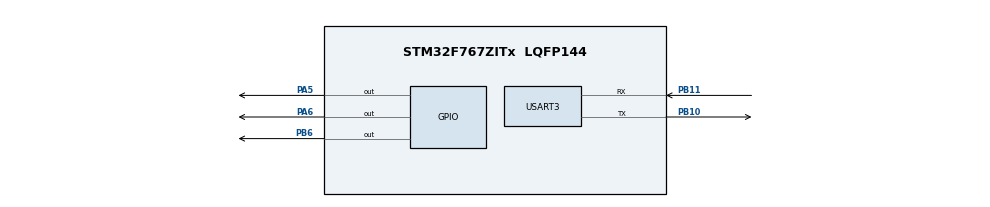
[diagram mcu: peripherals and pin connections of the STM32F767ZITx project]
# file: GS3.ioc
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CORTEX_M7.default_mode_Activation=1
Mcu.Family=STM32F7
Mcu.Name=STM32F767ZITx
Mcu.Package=LQFP144
NVIC.PriorityGroup=NVIC_PRIORITYGROUP_4
PA5.Signal=GPIO_Output
PA6.Signal=GPIO_Output
PB10.Mode=Asynchronous
PB10.Signal=USART3_TX
PB11.Mode=Asynchronous
PB11.Signal=USART3_RX
PB6.Signal=GPIO_Output
ProjectManager.HeapSize=0x200
ProjectManager.StackSize=0x400
ProjectManager.TargetToolchain=STM32CubeIDE
RCC.HSE_VALUE=25000000
RCC.HSI_VALUE=16000000
RCC.LSE_VALUE=32768
RCC.USBFreq_Value=96000000
RCC.VCOOutputFreq_Value=192000000
USART3.VirtualMode-Asynchronous=VM_ASYNC
board=custom

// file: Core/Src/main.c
/* USER CODE BEGIN Header */
/**
  ******************************************************************************
  * @file           : main.c
  * @brief          : Main program body
  ******************************************************************************
  * @attention
  *
  * Copyright (c) 2026 STMicroelectronics.
  * All rights reserved.
  *
  * This software is licensed under terms that can be found in the LICENSE file
  * in the root directory of this software component.
  * If no LICENSE file comes with this software, it is provided AS-IS.
  *
  ******************************************************************************
  */
/* USER CODE END Header */
#include "main.h"
#include <stdio.h>

UART_HandleTypeDef huart3;

/* USER CODE BEGIN PV */

uint8_t rxData[2] = {0, 0};
uint16_t sensor_raw = 0;
uint16_t sensor_safety = 0;
float sensor_angle_deg = 0.0f;
uint8_t sensor_ok = 0;

/* USER CODE END PV */

void SystemClock_Config(void);
static void MPU_Config(void);
static void MX_GPIO_Init(void);
static void MX_USART3_UART_Init(void);
/* USER CODE BEGIN PFP */

static void TLI_Delay_us(uint32_t us);
static void TLI_DATA_Output(void);
static void TLI_DATA_Input(void);
static void TLI_SCK_High(void);
static void TLI_SCK_Low(void);
static void TLI_DATA_High(void);
static void TLI_DATA_Low(void);
static uint8_t TLI_DATA_Read(void);
static void TLI_WriteBit(uint8_t bit);
static uint8_t TLI_ReadBit(void);
static void TLI_WriteWord(uint16_t word);
static uint16_t TLI_ReadWord(void);
static HAL_StatusTypeDef TLI5012B_ReadAngle(void);

/* USER CODE END PFP */

/* USER CODE BEGIN 0 */

extern UART_HandleTypeDef huart3;

int _write(int file, char *ptr, int len)
{
    HAL_UART_Transmit(&huart3, (uint8_t *)ptr, len, HAL_MAX_DELAY);
    return len;
}

static void TLI_Delay_us(uint32_t us)
{
    volatile uint32_t count = us * 4;  /* rough tuning, adjust if timing looks off */
    while (count--) { __NOP(); }
}

static void TLI_DATA_Output(void)
{
    GPIO_InitTypeDef GPIO_InitStruct = {0};
    GPIO_InitStruct.Pin = GPIO_PIN_6;
    GPIO_InitStruct.Mode = GPIO_MODE_OUTPUT_PP;
    GPIO_InitStruct.Pull = GPIO_NOPULL;
    GPIO_InitStruct.Speed = GPIO_SPEED_FREQ_HIGH;
    HAL_GPIO_Init(GPIOA, &GPIO_InitStruct);
}

static void TLI_DATA_Input(void)
{
    GPIO_InitTypeDef GPIO_InitStruct = {0};
    GPIO_InitStruct.Pin = GPIO_PIN_6;
    GPIO_InitStruct.Mode = GPIO_MODE_INPUT;
    GPIO_InitStruct.Pull = GPIO_NOPULL;
    GPIO_InitStruct.Speed = GPIO_SPEED_FREQ_HIGH;
    HAL_GPIO_Init(GPIOA, &GPIO_InitStruct);
}

static void TLI_SCK_High(void) { HAL_GPIO_WritePin(GPIOA, GPIO_PIN_5, GPIO_PIN_SET); }
static void TLI_SCK_Low(void)  { HAL_GPIO_WritePin(GPIOA, GPIO_PIN_5, GPIO_PIN_RESET); }
static void TLI_DATA_High(void) { HAL_GPIO_WritePin(GPIOA, GPIO_PIN_6, GPIO_PIN_SET); }
static void TLI_DATA_Low(void)  { HAL_GPIO_WritePin(GPIOA, GPIO_PIN_6, GPIO_PIN_RESET); }

static uint8_t TLI_DATA_Read(void)
{
    return (HAL_GPIO_ReadPin(GPIOA, GPIO_PIN_6) == GPIO_PIN_SET);
}

static void TLI_WriteBit(uint8_t bit)
{
    TLI_SCK_Low();
    if (bit) TLI_DATA_High(); else TLI_DATA_Low();
    TLI_Delay_us(1);
    TLI_SCK_High();
    TLI_Delay_us(1);
}

static uint8_t TLI_ReadBit(void)
{
    uint8_t bit;
    TLI_SCK_High();
    TLI_Delay_us(1);
    bit = TLI_DATA_Read();
    TLI_SCK_Low();
    TLI_Delay_us(1);
    return bit;
}

static void TLI_WriteWord(uint16_t word)
{
    for (int i = 15; i >= 0; i--) {
        TLI_WriteBit((word >> i) & 0x01);
    }
}

static uint16_t TLI_ReadWord(void)
{
    uint16_t word = 0;
    for (int i = 0; i < 16; i++) {
        word <<= 1;
        word |= TLI_ReadBit();
    }
    return word;
}

static HAL_StatusTypeDef TLI5012B_ReadAngle(void)
{
    uint16_t command = 0x8021;   /* Read ANGLE_VALUE register */
    uint16_t data, safety;

    TLI_DATA_Output();
    TLI_DATA_High();
    TLI_SCK_High();

    HAL_GPIO_WritePin(GPIOB, GPIO_PIN_6, GPIO_PIN_RESET);  /* CS low = start */
    TLI_Delay_us(1);

    TLI_WriteWord(command);

    TLI_SCK_High();
    TLI_DATA_Input();
    TLI_Delay_us(1);

    data = TLI_ReadWord();
    safety = TLI_ReadWord();

    TLI_SCK_High();
    HAL_GPIO_WritePin(GPIOB, GPIO_PIN_6, GPIO_PIN_SET);    /* CS high = end */

    sensor_raw = data;
    sensor_safety = safety;

    uint16_t angle_raw = data & 0x7FFF;
    sensor_angle_deg = ((float)angle_raw * 360.0f) / 32768.0f;
    sensor_ok = 1;

    return HAL_OK;
}

/* USER CODE END 0 */

int main(void)
{

  /* MPU Configuration--------------------------------------------------------*/
  MPU_Config();

  /* MCU Configuration--------------------------------------------------------*/

  /* Reset of all peripherals, Initializes the Flash interface and the Systick. */
  HAL_Init();

  /* Configure the system clock */
  SystemClock_Config();

  /* Initialize all configured peripherals */
  MX_GPIO_Init();
  MX_USART3_UART_Init();
  /* USER CODE BEGIN 2 */

  HAL_GPIO_WritePin(GPIOB, GPIO_PIN_6, GPIO_PIN_SET);   /* CS idle high */
  TLI_SCK_High();
  TLI_DATA_Output();
  TLI_DATA_High();
  HAL_Delay(10);

  printf("\r\n=== TLI5012B TEST ===\r\n");
  printf("SCK:PA5  DATA:PA6  CS:PB6\r\n");

  /* USER CODE END 2 */

  /* Infinite loop */
  while (1)
  {

    /* USER CODE BEGIN 3 */
	  HAL_StatusTypeDef status = TLI5012B_ReadAngle();

	  if (status == HAL_OK) {
	      printf("RAW:%04X  ANGLE:%7.2f deg  SAFETY:%04X\r\n",
	             sensor_raw, sensor_angle_deg, sensor_safety);
	  } else {
	      printf("TLI ERROR\r\n");
	  }

	  HAL_Delay(100);
  }
  /* USER CODE END 3 */
}

void SystemClock_Config(void)
{
  RCC_OscInitTypeDef RCC_OscInitStruct = {0};
  RCC_ClkInitTypeDef RCC_ClkInitStruct = {0};

  /** Configure the main internal regulator output voltage
  */
  __HAL_RCC_PWR_CLK_ENABLE();
  __HAL_PWR_VOLTAGESCALING_CONFIG(PWR_REGULATOR_VOLTAGE_SCALE3);

  /** Initializes the RCC Oscillators according to the specified parameters
  * in the RCC_OscInitTypeDef structure.
  */
  RCC_OscInitStruct.OscillatorType = RCC_OSCILLATORTYPE_HSI;
  RCC_OscInitStruct.HSIState = RCC_HSI_ON;
  RCC_OscInitStruct.HSICalibrationValue = RCC_HSICALIBRATION_DEFAULT;
  RCC_OscInitStruct.PLL.PLLState = RCC_PLL_NONE;
  if (HAL_RCC_OscConfig(&RCC_OscInitStruct) != HAL_OK)
  {
    Error_Handler();
  }

  /** Initializes the CPU, AHB and APB buses clocks
  */
  RCC_ClkInitStruct.ClockType = RCC_CLOCKTYPE_HCLK|RCC_CLOCKTYPE_SYSCLK
                              |RCC_CLOCKTYPE_PCLK1|RCC_CLOCKTYPE_PCLK2;
  RCC_ClkInitStruct.SYSCLKSource = RCC_SYSCLKSOURCE_HSI;
  RCC_ClkInitStruct.AHBCLKDivider = RCC_SYSCLK_DIV1;
  RCC_ClkInitStruct.APB1CLKDivider = RCC_HCLK_DIV1;
  RCC_ClkInitStruct.APB2CLKDivider = RCC_HCLK_DIV1;

  if (HAL_RCC_ClockConfig(&RCC_ClkInitStruct, FLASH_LATENCY_0) != HAL_OK)
  {
    Error_Handler();
  }
}

static void MX_USART3_UART_Init(void)
{

  huart3.Instance = USART3;
  huart3.Init.BaudRate = 115200;
  huart3.Init.WordLength = UART_WORDLENGTH_8B;
  huart3.Init.StopBits = UART_STOPBITS_1;
  huart3.Init.Parity = UART_PARITY_NONE;
  huart3.Init.Mode = UART_MODE_TX_RX;
  huart3.Init.HwFlowCtl = UART_HWCONTROL_NONE;
  huart3.Init.OverSampling = UART_OVERSAMPLING_16;
  huart3.Init.OneBitSampling = UART_ONE_BIT_SAMPLE_DISABLE;
  huart3.AdvancedInit.AdvFeatureInit = UART_ADVFEATURE_NO_INIT;
  if (HAL_UART_Init(&huart3) != HAL_OK)
  {
    Error_Handler();
  }

}

static void MX_GPIO_Init(void)
{
  GPIO_InitTypeDef GPIO_InitStruct = {0};

  /* GPIO Ports Clock Enable */
  __HAL_RCC_GPIOA_CLK_ENABLE();
  __HAL_RCC_GPIOB_CLK_ENABLE();

  HAL_GPIO_WritePin(GPIOA, GPIO_PIN_5, GPIO_PIN_SET);
  HAL_GPIO_WritePin(GPIOA, GPIO_PIN_6, GPIO_PIN_SET);
  HAL_GPIO_WritePin(GPIOB, GPIO_PIN_6, GPIO_PIN_SET);

  /*Configure GPIO pin Output Level */
  HAL_GPIO_WritePin(GPIOA, GPIO_PIN_5|GPIO_PIN_6, GPIO_PIN_RESET);

  /*Configure GPIO pin Output Level */
  HAL_GPIO_WritePin(GPIOB, GPIO_PIN_6, GPIO_PIN_RESET);

  /*Configure GPIO pins : PA5 PA6 */
  GPIO_InitStruct.Pin = GPIO_PIN_5|GPIO_PIN_6;
  GPIO_InitStruct.Mode = GPIO_MODE_OUTPUT_PP;
  GPIO_InitStruct.Pull = GPIO_NOPULL;
  GPIO_InitStruct.Speed = GPIO_SPEED_FREQ_LOW;
  HAL_GPIO_Init(GPIOA, &GPIO_InitStruct);

  /*Configure GPIO pin : PB6 */
  GPIO_InitStruct.Pin = GPIO_PIN_6;
  GPIO_InitStruct.Mode = GPIO_MODE_OUTPUT_PP;
  GPIO_InitStruct.Pull = GPIO_NOPULL;
  GPIO_InitStruct.Speed = GPIO_SPEED_FREQ_LOW;
  HAL_GPIO_Init(GPIOB, &GPIO_InitStruct);

  /* USER CODE BEGIN MX_GPIO_Init_2 */

  __HAL_RCC_GPIOB_CLK_ENABLE();  /* already enabled above, but harmless */

  GPIO_InitStruct.Pin = GPIO_PIN_10 | GPIO_PIN_11;
  GPIO_InitStruct.Mode = GPIO_MODE_AF_PP;
  GPIO_InitStruct.Pull = GPIO_NOPULL;
  GPIO_InitStruct.Speed = GPIO_SPEED_FREQ_LOW;
  GPIO_InitStruct.Alternate = GPIO_AF7_USART3;
  HAL_GPIO_Init(GPIOB, &GPIO_InitStruct);

  /* USER CODE END MX_GPIO_Init_2 */
}

 /* MPU Configuration */

void MPU_Config(void)
{
  MPU_Region_InitTypeDef MPU_InitStruct = {0};

  /* Disables the MPU */
  HAL_MPU_Disable();

  /** Initializes and configures the Region and the memory to be protected
  */
  MPU_InitStruct.Enable = MPU_REGION_ENABLE;
  MPU_InitStruct.Number = MPU_REGION_NUMBER0;
  MPU_InitStruct.BaseAddress = 0x0;
  MPU_InitStruct.Size = MPU_REGION_SIZE_4GB;
  MPU_InitStruct.SubRegionDisable = 0x87;
  MPU_InitStruct.TypeExtField = MPU_TEX_LEVEL0;
  MPU_InitStruct.AccessPermission = MPU_REGION_NO_ACCESS;
  MPU_InitStruct.DisableExec = MPU_INSTRUCTION_ACCESS_DISABLE;
  MPU_InitStruct.IsShareable = MPU_ACCESS_SHAREABLE;
  MPU_InitStruct.IsCacheable = MPU_ACCESS_NOT_CACHEABLE;
  MPU_InitStruct.IsBufferable = MPU_ACCESS_NOT_BUFFERABLE;

  HAL_MPU_ConfigRegion(&MPU_InitStruct);
  /* Enables the MPU */
  HAL_MPU_Enable(MPU_PRIVILEGED_DEFAULT);

}

void Error_Handler(void)
{
  __disable_irq();
  while (1)
  {
  }
}
